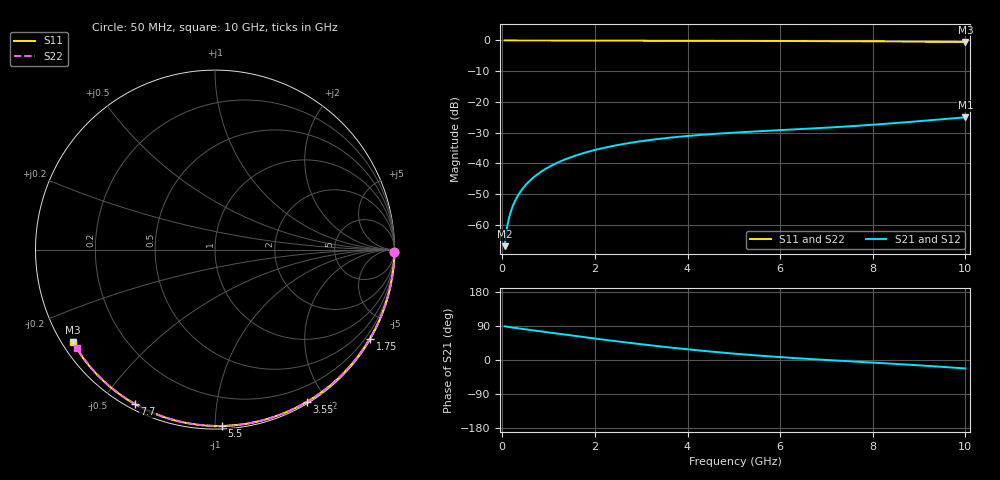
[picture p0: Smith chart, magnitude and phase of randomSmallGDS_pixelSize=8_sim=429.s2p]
! freq	dB(S11)	phase(S11)	dB(S12)	phase(S12)
!  dB(S21)	phase(S21)	dB(S22)	phase(S22)
!S-par simulation data
#  GHz  S  DB  R 50
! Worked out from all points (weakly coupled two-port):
!   200 points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, 50 MHz to 10 GHz, reference 50 ohm
!   highest |S21| = -24.99 dB at 10 GHz (marker M1); lowest = -66.9 dB at 50 MHz (marker M2)
!   lowest |S11| = -0.5 dB at 10 GHz (marker M3), VSWR 35.35, Z = 1.54 - j14.8 ohm
!   |S11| at or under -10 dB: nowhere
!   |S22| runs from -0.5 to 0.0 dB; largest |S21 - S12| = 0
!   S11 on the Smith chart (normalised r, x): 50 MHz: open; 1.75 GHz: 0.03, -3.75; 3.55 GHz: 0.02, -1.77; 5.5 GHz: 0.02, -1.04; 7.7 GHz: 0.02, -0.61; 10 GHz: 0.03, -0.30
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0.05  -0.00 -0.9  -66.90 88.9  -66.90 88.9  -0.00 -0.9
0.1  -0.00 -1.7  -60.90 87.9  -60.90 87.9  -0.00 -1.7
0.15  -0.00 -2.6  -57.40 86.9  -57.40 86.9  -0.00 -2.6
0.2  -0.00 -3.5  -54.93 86.0  -54.93 86.0  -0.00 -3.4
0.25  -0.00 -4.3  -53.02 85.1  -53.02 85.1  -0.00 -4.3
0.35  -0.00 -6.1  -50.13 83.4  -50.13 83.4  -0.00 -6.0
0.5  -0.01 -8.7  -47.08 80.9  -47.08 80.9  -0.01 -8.5
0.7  -0.01 -12.1  -44.22 77.7  -44.22 77.7  -0.01 -11.9
1  -0.02 -17.2  -41.20 72.7  -41.20 72.7  -0.02 -16.9
1.35  -0.03 -23.1  -38.72 67.0  -38.72 67.0  -0.03 -22.7
1.75  -0.04 -29.9  -36.65 60.6  -36.65 60.6  -0.04 -29.3
2.5  -0.06 -42.2  -33.98 48.9  -33.98 48.9  -0.05 -41.4
3.4  -0.08 -56.6  -31.97 36.0  -31.97 36.0  -0.08 -55.5
3.55  -0.08 -58.9  -31.72 34.0  -31.72 34.0  -0.08 -57.8
4.3  -0.10 -70.4  -30.69 24.6  -30.69 24.6  -0.10 -69.1
5.05  -0.13 -81.4  -29.93 16.3  -29.93 16.3  -0.12 -79.9
5.5  -0.14 -87.8  -29.56 12.0  -29.56 12.0  -0.14 -86.3
6.7  -0.20 -104.4  -28.62 2.2  -28.62 2.2  -0.20 -102.6
7.7  -0.27 -117.5  -27.72 -4.7  -27.72 -4.7  -0.26 -115.6
8.35  -0.32 -125.9  -27.02 -9.2  -27.02 -9.2  -0.32 -123.9
9.2  -0.40 -136.8  -26.01 -15.6  -26.01 -15.6  -0.40 -134.6
10  -0.49 -146.9  -24.99 -22.4  -24.99 -22.4  -0.49 -144.7
